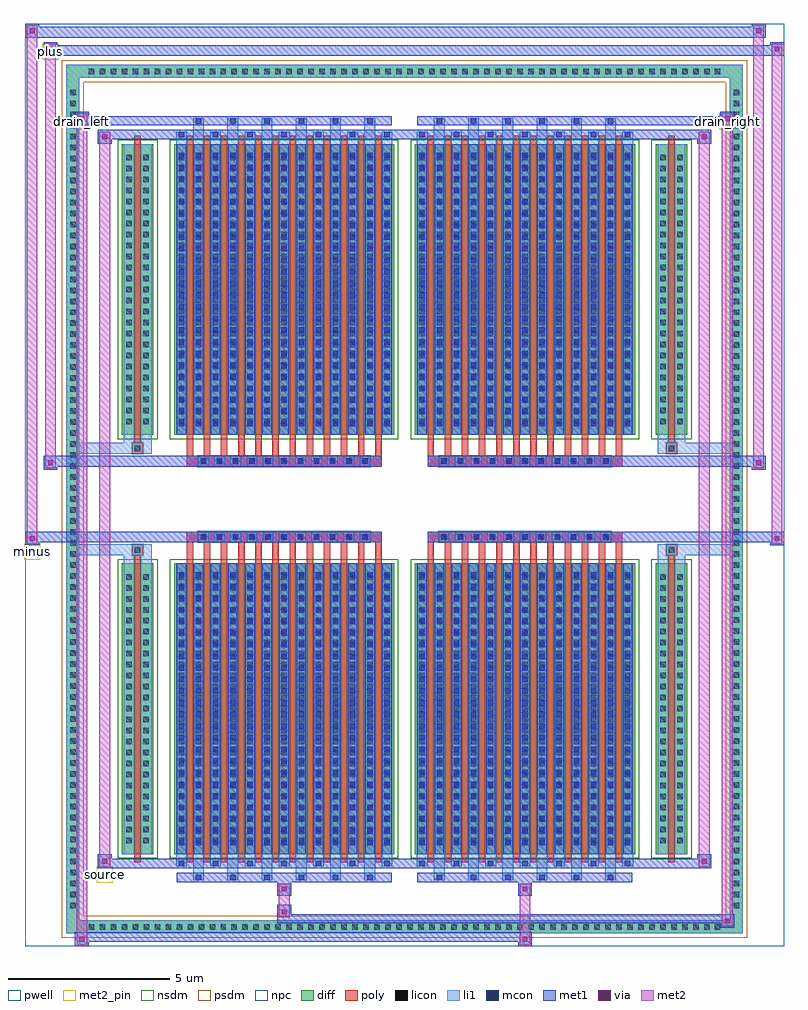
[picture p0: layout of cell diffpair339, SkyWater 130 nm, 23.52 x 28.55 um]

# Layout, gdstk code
import gdstk
lib = gdstk.Library(unit=1e-6, precision=5e-09)
def R(c, l, rs):  # rectangles x0, y0, x1, y1
    for r in rs: c.add(gdstk.rectangle(r[:2], r[2:], *l))
def A(c, l, x, y, w, h, nx, ny, dx, dy):  # array of equal rectangles
    R(c, l, [(x+i*dx, y+j*dy, x+i*dx+w, y+j*dy+h) for i in range(nx) for j in range(ny)])
def P(c, l, *ps):  # polygons
    for p in ps: c.add(gdstk.Polygon(p, *l))
pwell = (64, 44)
diff = (65, 20)
poly = (66, 20)
licon = (66, 44)
li1 = (67, 20)
mcon = (67, 44)
met1 = (68, 20)
via = (68, 44)
met2_pin = (69, 16)
met2 = (69, 20)
nsdm = (93, 44)
psdm = (94, 20)
npc = (95, 20)

diffpair339 = lib.new_cell('diffpair339')
R(diffpair339, pwell, [(-11.74,-13.84,11.74,14.71), (-9.06,-12.03,-0.01,-0.805), (0.01,-12.03,9.06,-0.805), (-9.06,0.805,-0.01,12.03), (0.01,0.805,9.06,12.03)])
A(diffpair339, diff, -9.895, -13.44, 0.41, 0.41, 58, 2, 0.34, 26.47)
A(diffpair339, diff, -10.47, -12.785, 0.41, 0.41, 1, 75, 0, 0.34)
A(diffpair339, diff, 10.06, -12.785, 0.41, 0.41, 1, 75, 0, 0.34)
R(diffpair339, diff, [(-9.895,-13.44,9.895,-13.03), (-10.47,-12.785,-10.06,12.785), (10.06,-12.785,10.47,12.785), (-8.75,-10.985,-7.77,-1.985), (-7.13,-10.985,-0.32,-1.985), (0.32,-10.985,7.13,-1.985), (7.77,-10.985,8.75,-1.985), (-8.75,1.985,-7.77,10.985), (-7.13,1.985,-0.32,10.985), (0.32,1.985,7.13,10.985), (7.77,1.985,8.75,10.985), (-9.895,13.03,9.895,13.44)])
P(diffpair339, diff, [(10.47,13.44),(-10.47,13.44),(-10.47,-13.03),(-10.06,-13.03),(-10.06,13.03),(10.06,13.03),(10.06,-13.03),(-10.06,-13.03),(-10.47,-13.03),(-10.47,-13.44),(10.47,-13.44)])
A(diffpair339, poly, -6.74, -11.235, 0.2, 9.5, 12, 2, 0.53, 12.97)
A(diffpair339, poly, 0.71, -11.235, 0.2, 9.5, 12, 2, 0.53, 12.97)
A(diffpair339, poly, -6.74, -1.735, 0.2, 0.4, 12, 2, 0.53, 3.07)
A(diffpair339, poly, 0.71, -1.735, 0.2, 0.4, 12, 2, 0.53, 3.07)
A(diffpair339, poly, -6.39, -1.335, 0.33, 0.33, 11, 2, 0.5, 2.34)
A(diffpair339, poly, 1.06, -1.335, 0.33, 0.33, 11, 2, 0.5, 2.34)
R(diffpair339, poly, [(-8.36,-11.235,-8.16,-1.735), (8.16,-11.235,8.36,-1.735), (-8.425,-1.735,-8.095,-1.405), (-8.425,-1.735,-8.095,-1.405), (8.095,-1.735,8.425,-1.405), (8.095,-1.735,8.425,-1.405), (-6.74,-1.335,-0.71,-1.005), (0.71,-1.335,6.74,-1.005), (-6.74,1.005,-0.71,1.335), (0.71,1.005,6.74,1.335), (-8.425,1.405,-8.095,1.735), (-8.425,1.405,-8.095,1.735), (8.095,1.405,8.425,1.735), (8.095,1.405,8.425,1.735), (-8.36,1.735,-8.16,11.235), (8.16,1.735,8.36,11.235)])
A(diffpair339, licon, -9.775, -13.32, 0.17, 0.17, 58, 2, 0.34, 26.47)
A(diffpair339, licon, -10.35, -12.665, 0.17, 0.17, 1, 75, 0, 0.34)
A(diffpair339, licon, 10.18, -12.665, 0.17, 0.17, 1, 75, 0, 0.34)
A(diffpair339, licon, -8.61, -10.65, 0.17, 0.17, 1, 25, 0, 0.34)
A(diffpair339, licon, -8.08, -10.65, 0.17, 0.17, 1, 25, 0, 0.34)
A(diffpair339, licon, -6.99, -10.65, 0.17, 0.17, 13, 25, 0.53, 0.34)
A(diffpair339, licon, 0.46, -10.65, 0.17, 0.17, 13, 25, 0.53, 0.34)
A(diffpair339, licon, 7.91, -10.65, 0.17, 0.17, 1, 25, 0, 0.34)
A(diffpair339, licon, 8.44, -10.65, 0.17, 0.17, 1, 25, 0, 0.34)
A(diffpair339, licon, -6.31, -1.255, 0.17, 0.17, 11, 2, 0.5, 2.34)
A(diffpair339, licon, 1.14, -1.255, 0.17, 0.17, 11, 2, 0.5, 2.34)
A(diffpair339, licon, -8.61, 2.32, 0.17, 0.17, 1, 25, 0, 0.34)
A(diffpair339, licon, -8.08, 2.32, 0.17, 0.17, 1, 25, 0, 0.34)
A(diffpair339, licon, -6.99, 2.32, 0.17, 0.17, 13, 25, 0.53, 0.34)
A(diffpair339, licon, 0.46, 2.32, 0.17, 0.17, 13, 25, 0.53, 0.34)
A(diffpair339, licon, 7.91, 2.32, 0.17, 0.17, 1, 25, 0, 0.34)
A(diffpair339, licon, 8.44, 2.32, 0.17, 0.17, 1, 25, 0, 0.34)
R(diffpair339, licon, [(-8.345,-1.655,-8.175,-1.485), (8.175,-1.655,8.345,-1.485), (-8.345,1.485,-8.175,1.655), (8.175,1.485,8.345,1.655)])
A(diffpair339, li1, -9.855, -13.4, 0.33, 0.33, 58, 2, 0.34, 26.47)
A(diffpair339, li1, -10.43, -12.745, 0.33, 0.33, 1, 75, 0, 0.34)
A(diffpair339, li1, 10.1, -12.745, 0.33, 0.33, 1, 75, 0, 0.34)
A(diffpair339, li1, -6.54, -11.79, 0.33, 0.805, 6, 2, 1.06, 22.775)
A(diffpair339, li1, -6.46, -11.79, 0.17, 0.17, 6, 2, 1.06, 23.41)
A(diffpair339, li1, 0.91, -11.79, 0.33, 0.805, 6, 2, 1.06, 22.775)
A(diffpair339, li1, 0.99, -11.79, 0.17, 0.17, 6, 2, 1.06, 23.41)
A(diffpair339, li1, -7.07, -11.36, 0.33, 0.375, 7, 2, 1.06, 22.345)
A(diffpair339, li1, -6.99, -11.36, 0.17, 0.17, 7, 2, 1.06, 22.55)
A(diffpair339, li1, 0.38, -11.36, 0.33, 0.375, 7, 2, 1.06, 22.345)
A(diffpair339, li1, 0.46, -11.36, 0.17, 0.17, 7, 2, 1.06, 22.55)
A(diffpair339, li1, -7.07, -10.985, 0.33, 9, 13, 2, 0.53, 12.97)
A(diffpair339, li1, 0.38, -10.985, 0.33, 9, 13, 2, 0.53, 12.97)
A(diffpair339, li1, -8.69, -10.73, 0.33, 0.33, 1, 25, 0, 0.34)
A(diffpair339, li1, -8.16, -10.73, 0.33, 0.33, 1, 25, 0, 0.34)
A(diffpair339, li1, -7.07, -10.73, 0.33, 0.33, 13, 25, 0.53, 0.34)
A(diffpair339, li1, 0.38, -10.73, 0.33, 0.33, 13, 25, 0.53, 0.34)
A(diffpair339, li1, 7.83, -10.73, 0.33, 0.33, 1, 25, 0, 0.34)
A(diffpair339, li1, 8.36, -10.73, 0.33, 0.33, 1, 25, 0, 0.34)
A(diffpair339, li1, -6.99, -10.71, 0.17, 0.17, 13, 24, 0.53, 0.36)
A(diffpair339, li1, -6.99, -10.71, 0.17, 8.45, 13, 2, 0.53, 12.97)
A(diffpair339, li1, 0.46, -10.71, 0.17, 0.17, 13, 24, 0.53, 0.36)
A(diffpair339, li1, 0.46, -10.71, 0.17, 8.45, 13, 2, 0.53, 12.97)
A(diffpair339, li1, -6.39, -1.335, 0.33, 0.33, 11, 2, 0.5, 2.34)
A(diffpair339, li1, 1.06, -1.335, 0.33, 0.33, 11, 2, 0.5, 2.34)
A(diffpair339, li1, -8.69, 2.24, 0.33, 0.33, 1, 25, 0, 0.34)
A(diffpair339, li1, -8.16, 2.24, 0.33, 0.33, 1, 25, 0, 0.34)
A(diffpair339, li1, -7.07, 2.24, 0.33, 0.33, 13, 25, 0.53, 0.34)
A(diffpair339, li1, 0.38, 2.24, 0.33, 0.33, 13, 25, 0.53, 0.34)
A(diffpair339, li1, 7.83, 2.24, 0.33, 0.33, 1, 25, 0, 0.34)
A(diffpair339, li1, 8.36, 2.24, 0.33, 0.33, 1, 25, 0, 0.34)
A(diffpair339, li1, -6.99, 2.26, 0.17, 0.17, 13, 24, 0.53, 0.36)
A(diffpair339, li1, 0.46, 2.26, 0.17, 0.17, 13, 24, 0.53, 0.36)
R(diffpair339, li1, [(-10.47,-13.44,-10.06,-13.03), (-10.47,-13.44,-10.06,-13.03), (-10.06,-13.44,10.06,-13.03), (10.06,-13.44,10.47,-13.03), (10.06,-13.44,10.47,-13.03), (-10.47,-13.03,-10.06,13.03), (10.06,-13.03,10.47,13.03), (-8.69,-10.985,-8.36,-1.985), (-8.16,-10.985,-7.83,-1.985), (7.83,-10.985,8.16,-1.985), (8.36,-10.985,8.69,-1.985), (-8.69,-1.985,-8.36,-1.405), (-8.16,-1.985,-7.83,-1.405), (7.83,-1.985,8.16,-1.405), (8.36,-1.985,8.69,-1.405), (-10.47,-1.735,-8.425,-1.405), (-8.69,-1.735,-8.425,-1.405), (-8.425,-1.735,-8.095,-1.405), (-8.095,-1.735,-7.83,-1.405), (7.83,-1.735,8.095,-1.405), (8.095,-1.735,8.425,-1.405), (8.095,-1.735,10.47,-1.405), (8.425,-1.735,8.69,-1.405), (-10.47,1.405,-8.425,1.735), (-8.69,1.405,-8.425,1.735), (-8.69,1.405,-8.36,1.985), (-8.425,1.405,-8.095,1.735), (-8.16,1.405,-7.83,1.985), (-8.095,1.405,-7.83,1.735), (7.83,1.405,8.095,1.735), (7.83,1.405,8.16,1.985), (8.095,1.405,8.425,1.735), (8.095,1.405,10.47,1.735), (8.36,1.405,8.69,1.985), (8.425,1.405,8.69,1.735), (-8.69,1.985,-8.36,10.985), (-8.16,1.985,-7.83,10.985), (7.83,1.985,8.16,10.985), (8.36,1.985,8.69,10.985), (-10.47,13.03,-10.06,13.44), (-10.47,13.03,-10.06,13.44), (-10.06,13.03,10.06,13.44), (10.06,13.03,10.47,13.44), (10.06,13.03,10.47,13.44)])
A(diffpair339, mcon, -6.46, -11.79, 0.17, 0.17, 6, 2, 1.06, 23.41)
A(diffpair339, mcon, 0.99, -11.79, 0.17, 0.17, 6, 2, 1.06, 23.41)
A(diffpair339, mcon, -6.99, -11.36, 0.17, 0.17, 7, 2, 1.06, 22.55)
A(diffpair339, mcon, 0.46, -11.36, 0.17, 0.17, 7, 2, 1.06, 22.55)
A(diffpair339, mcon, -6.99, -10.71, 0.17, 0.17, 13, 24, 0.53, 0.36)
A(diffpair339, mcon, 0.46, -10.71, 0.17, 0.17, 13, 24, 0.53, 0.36)
A(diffpair339, mcon, -6.31, -1.255, 0.17, 0.17, 11, 2, 0.5, 2.34)
A(diffpair339, mcon, 1.14, -1.255, 0.17, 0.17, 11, 2, 0.5, 2.34)
A(diffpair339, mcon, -6.99, 2.26, 0.17, 0.17, 13, 24, 0.53, 0.36)
A(diffpair339, mcon, 0.46, 2.26, 0.17, 0.17, 13, 24, 0.53, 0.36)
A(diffpair339, met1, -6.52, -11.85, 0.29, 0.29, 6, 2, 1.06, 23.41)
A(diffpair339, met1, 0.93, -11.85, 0.29, 0.29, 6, 2, 1.06, 23.41)
A(diffpair339, met1, -7.05, -11.42, 0.29, 0.29, 7, 2, 1.06, 22.55)
A(diffpair339, met1, 0.4, -11.42, 0.29, 0.29, 7, 2, 1.06, 22.55)
A(diffpair339, met1, -7.05, -10.985, 0.29, 9, 13, 2, 0.53, 12.97)
A(diffpair339, met1, 0.4, -10.985, 0.29, 9, 13, 2, 0.53, 12.97)
A(diffpair339, met1, -7.05, -10.77, 0.29, 0.29, 13, 24, 0.53, 0.36)
A(diffpair339, met1, 0.4, -10.77, 0.29, 0.29, 13, 24, 0.53, 0.36)
A(diffpair339, met1, -6.37, -1.315, 0.29, 0.29, 11, 2, 0.5, 2.34)
A(diffpair339, met1, 1.08, -1.315, 0.29, 0.29, 11, 2, 0.5, 2.34)
A(diffpair339, met1, -7.05, 2.2, 0.29, 0.29, 13, 24, 0.53, 0.36)
A(diffpair339, met1, 0.4, 2.2, 0.29, 0.29, 13, 24, 0.53, 0.36)
R(diffpair339, met1, [(-10.2,-13.84,-9.77,-13.41), (3.51,-13.84,3.94,-13.41), (-10.2,-13.7,3.94,-13.41), (9.77,-13.27,10.2,-12.84), (-3.94,-13.13,10.2,-12.84), (-3.94,-12.99,-3.51,-12.56), (-3.94,-12.28,-3.51,-11.85), (3.51,-12.28,3.94,-11.85), (-7.05,-11.85,-0.4,-11.56), (0.4,-11.85,7.05,-11.56), (-9.49,-11.42,-9.06,-10.99), (-9.49,-11.42,-7.05,-11.13), (-7.05,-11.42,-0.4,-11.13), (-0.4,-11.42,0.4,-11.13), (0.4,-11.42,7.05,-11.13), (7.05,-11.42,9.49,-11.13), (9.06,-11.42,9.49,-10.99), (-11.74,-1.435,-11.31,-1.005), (11.31,-1.435,11.74,-1.005), (-11.74,-1.335,-0.71,-1.005), (-6.74,-1.335,-0.71,-1.005), (0.71,-1.335,6.74,-1.005), (0.71,-1.335,11.74,-1.005), (-11.17,0.905,-10.74,1.335), (10.74,0.905,11.17,1.335), (-11.17,1.005,-6.74,1.335), (-6.74,1.005,-0.71,1.335), (0.71,1.005,6.74,1.335), (6.74,1.005,11.17,1.335), (-9.49,10.99,-9.06,11.42), (9.06,10.99,9.49,11.42), (-9.49,11.13,-7.05,11.42), (-7.05,11.13,-0.4,11.42), (-0.4,11.13,0.4,11.42), (0.4,11.13,7.05,11.42), (7.05,11.13,9.49,11.42), (-10.2,11.56,-9.77,11.99), (-10.2,11.56,-7.05,11.85), (-7.05,11.56,-0.4,11.85), (0.4,11.56,7.05,11.85), (7.05,11.56,10.2,11.85), (9.77,11.56,10.2,11.99), (-11.17,13.71,-10.74,14.14), (-11.17,13.71,-9.06,14.04), (-9.06,13.71,9.06,14.04), (9.06,13.71,11.74,14.04), (11.31,13.71,11.74,14.14), (-11.74,14.28,-11.31,14.71), (-11.74,14.28,-9.06,14.61), (-9.06,14.28,9.06,14.61), (9.06,14.28,11.17,14.61), (10.74,14.28,11.17,14.71)])
R(diffpair339, via, [(-10.06,-13.7,-9.91,-13.55), (3.65,-13.7,3.8,-13.55), (9.91,-13.13,10.06,-12.98), (-3.8,-12.85,-3.65,-12.7), (-3.8,-12.14,-3.65,-11.99), (3.65,-12.14,3.8,-11.99), (-9.35,-11.28,-9.2,-11.13), (9.2,-11.28,9.35,-11.13), (-11.6,-1.295,-11.45,-1.145), (11.45,-1.295,11.6,-1.145), (-11.03,1.045,-10.88,1.195), (10.88,1.045,11.03,1.195), (-9.35,11.13,-9.2,11.28), (9.2,11.13,9.35,11.28), (-10.06,11.7,-9.91,11.85), (9.91,11.7,10.06,11.85), (-11.03,13.85,-10.88,14), (11.45,13.85,11.6,14), (-11.6,14.42,-11.45,14.57), (10.88,14.42,11.03,14.57)])
R(diffpair339, met2_pin, [(-9.525,-11.87,-9.025,-11.37), (-11.775,-1.885,-11.275,-1.385), (-10.235,11.44,-9.735,11.94), (9.735,11.44,10.235,11.94), (-11.205,13.59,-10.705,14.09)])
R(diffpair339, met2, [(-10.15,-13.79,-9.82,-13.46), (-10.15,-13.79,-9.82,11.94), (3.56,-13.79,3.89,-13.46), (3.56,-13.46,3.89,-12.23), (9.82,-13.22,10.15,-12.89), (9.82,-13.22,10.15,11.94), (-3.89,-12.94,-3.56,-12.61), (-3.89,-12.61,-3.56,-12.23), (-3.89,-12.23,-3.56,-11.9), (3.56,-12.23,3.89,-11.9), (-9.44,-11.37,-9.11,-11.04), (-9.44,-11.37,-9.11,11.37), (9.11,-11.37,9.44,-11.04), (9.11,-11.37,9.44,11.37), (-11.69,-1.385,-11.36,-1.055), (-11.69,-1.385,-11.36,14.66), (11.36,-1.385,11.69,-1.055), (11.36,-1.385,11.69,14.09), (-11.12,0.955,-10.79,1.285), (-11.12,0.955,-10.79,14.09), (10.79,0.955,11.12,1.285), (10.79,0.955,11.12,14.66), (-9.44,11.04,-9.11,11.37), (9.11,11.04,9.44,11.37), (-10.15,11.61,-9.82,11.94), (9.82,11.61,10.15,11.94), (-11.12,13.76,-10.79,14.09), (11.36,13.76,11.69,14.09), (-11.69,14.33,-11.36,14.66), (10.79,14.33,11.12,14.66)])
P(diffpair339, met2, [(11.69,-1.385),(11.69,-1.385),(11.69,-1.055),(11.69,-1.055)],
  [(11.69,13.76),(11.69,13.76),(11.69,14.09),(11.69,14.09)],
  [(-11.36,-1.385),(-11.36,-1.385),(-11.36,-1.055),(-11.36,-1.055)],
  [(-11.36,14.33),(-11.36,14.33),(-11.36,14.66),(-11.36,14.66)],
  [(11.12,0.955),(11.12,0.955),(11.12,1.285),(11.12,1.285)],
  [(11.12,14.33),(11.12,14.33),(11.12,14.66),(11.12,14.66)],
  [(-10.79,0.955),(-10.79,0.955),(-10.79,1.285),(-10.79,1.285)],
  [(-10.79,13.76),(-10.79,13.76),(-10.79,14.09),(-10.79,14.09)],
  [(-9.82,-13.79),(-9.82,-13.79),(-9.82,-13.46),(-9.82,-13.46)],
  [(-9.82,11.61),(-9.82,11.61),(-9.82,11.94),(-9.82,11.94)],
  [(10.15,-13.22),(10.15,-13.22),(10.15,-12.89),(10.15,-12.89)],
  [(10.15,11.61),(10.15,11.61),(10.15,11.94),(10.15,11.94)],
  [(-9.11,-11.37),(-9.11,-11.37),(-9.11,-11.04),(-9.11,-11.04)],
  [(-9.11,11.04),(-9.11,11.04),(-9.11,11.37),(-9.11,11.37)],
  [(9.44,-11.37),(9.44,-11.37),(9.44,-11.04),(9.44,-11.04)],
  [(9.44,11.04),(9.44,11.04),(9.44,11.37),(9.44,11.37)])
R(diffpair339, nsdm, [(-8.88,-11.115,-7.64,-1.855), (-7.26,-11.115,-0.19,-1.855), (0.19,-11.115,7.26,-1.855), (7.64,-11.115,8.88,-1.855), (-8.88,1.855,-7.64,11.115), (-7.26,1.855,-0.19,11.115), (0.19,1.855,7.26,11.115), (7.64,1.855,8.88,11.115)])
P(diffpair339, psdm, [(10.6,13.57),(-10.6,13.57),(-10.6,-12.9),(-9.93,-12.9),(-9.93,12.9),(9.93,12.9),(9.93,-12.9),(-9.93,-12.9),(-10.6,-12.9),(-10.6,-13.57),(10.6,-13.57)])
A(diffpair339, npc, -6.41, -1.355, 0.37, 0.37, 11, 2, 0.5, 2.34)
A(diffpair339, npc, 1.04, -1.355, 0.37, 0.37, 11, 2, 0.5, 2.34)
R(diffpair339, npc, [(-8.445,-1.755,-8.075,-1.385), (8.075,-1.755,8.445,-1.385), (-6.41,-1.355,-5.54,-0.985), (-6.41,-1.355,-5.54,-0.985), (-5.91,-1.355,-5.04,-0.985), (-5.91,-1.355,-5.04,-0.985), (-5.41,-1.355,-4.54,-0.985), (-5.41,-1.355,-4.54,-0.985), (-4.91,-1.355,-4.04,-0.985), (-4.91,-1.355,-4.04,-0.985), (-4.41,-1.355,-3.54,-0.985), (-4.41,-1.355,-3.54,-0.985), (-3.91,-1.355,-3.04,-0.985), (-3.91,-1.355,-3.04,-0.985), (-3.41,-1.355,-2.54,-0.985), (-3.41,-1.355,-2.54,-0.985), (-2.91,-1.355,-2.04,-0.985), (-2.91,-1.355,-2.04,-0.985), (-2.41,-1.355,-1.54,-0.985), (-2.41,-1.355,-1.54,-0.985), (-1.91,-1.355,-1.04,-0.985), (-1.91,-1.355,-1.04,-0.985), (1.04,-1.355,1.91,-0.985), (1.04,-1.355,1.91,-0.985), (1.54,-1.355,2.41,-0.985), (1.54,-1.355,2.41,-0.985), (2.04,-1.355,2.91,-0.985), (2.04,-1.355,2.91,-0.985), (2.54,-1.355,3.41,-0.985), (2.54,-1.355,3.41,-0.985), (3.04,-1.355,3.91,-0.985), (3.04,-1.355,3.91,-0.985), (3.54,-1.355,4.41,-0.985), (3.54,-1.355,4.41,-0.985), (4.04,-1.355,4.91,-0.985), (4.04,-1.355,4.91,-0.985), (4.54,-1.355,5.41,-0.985), (4.54,-1.355,5.41,-0.985), (5.04,-1.355,5.91,-0.985), (5.04,-1.355,5.91,-0.985), (5.54,-1.355,6.41,-0.985), (5.54,-1.355,6.41,-0.985), (-6.41,0.985,-5.54,1.355), (-6.41,0.985,-5.54,1.355), (-5.91,0.985,-5.04,1.355), (-5.91,0.985,-5.04,1.355), (-5.41,0.985,-4.54,1.355), (-5.41,0.985,-4.54,1.355), (-4.91,0.985,-4.04,1.355), (-4.91,0.985,-4.04,1.355), (-4.41,0.985,-3.54,1.355), (-4.41,0.985,-3.54,1.355), (-3.91,0.985,-3.04,1.355), (-3.91,0.985,-3.04,1.355), (-3.41,0.985,-2.54,1.355), (-3.41,0.985,-2.54,1.355), (-2.91,0.985,-2.04,1.355), (-2.91,0.985,-2.04,1.355), (-2.41,0.985,-1.54,1.355), (-2.41,0.985,-1.54,1.355), (-1.91,0.985,-1.04,1.355), (-1.91,0.985,-1.04,1.355), (1.04,0.985,1.91,1.355), (1.04,0.985,1.91,1.355), (1.54,0.985,2.41,1.355), (1.54,0.985,2.41,1.355), (2.04,0.985,2.91,1.355), (2.04,0.985,2.91,1.355), (2.54,0.985,3.41,1.355), (2.54,0.985,3.41,1.355), (3.04,0.985,3.91,1.355), (3.04,0.985,3.91,1.355), (3.54,0.985,4.41,1.355), (3.54,0.985,4.41,1.355), (4.04,0.985,4.91,1.355), (4.04,0.985,4.91,1.355), (4.54,0.985,5.41,1.355), (4.54,0.985,5.41,1.355), (5.04,0.985,5.91,1.355), (5.04,0.985,5.91,1.355), (5.54,0.985,6.41,1.355), (5.54,0.985,6.41,1.355), (-8.445,1.385,-8.075,1.755), (8.075,1.385,8.445,1.755)])
diffpair339.add(gdstk.Label('minus', (-11.525,-1.635), layer=69, texttype=5))
diffpair339.add(gdstk.Label('drain_right', (9.985,11.69), layer=69, texttype=5))
diffpair339.add(gdstk.Label('drain_left', (-9.985,11.69), layer=69, texttype=5))
diffpair339.add(gdstk.Label('source', (-9.275,-11.62), layer=69, texttype=5))
diffpair339.add(gdstk.Label('plus', (-10.955,13.84), layer=69, texttype=5))

lib.write_gds('diffpair339.gds')
